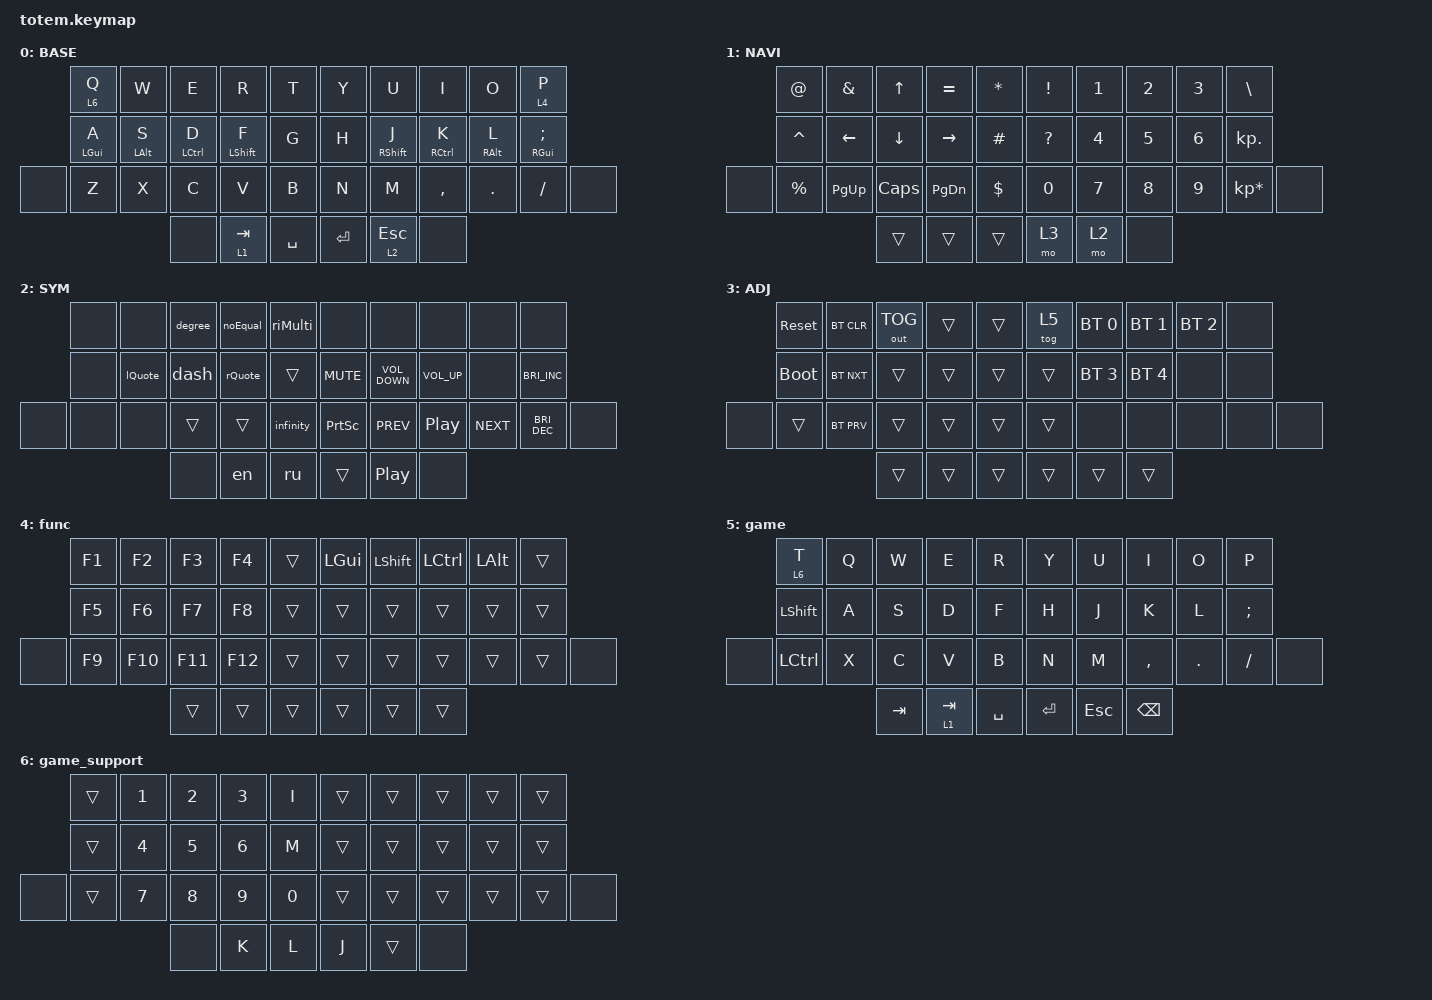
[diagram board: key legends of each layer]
//
//                                                        ▀▀▀▀▀     ▀▀▀▀▀          ▀▀█▀▀
//                                                        ▄▀▀▀▄  ▄  ▄▀▀▀▄  ▄  ▄▀▀▀▄  █  ▄▀▀▀▄
//                                                        █   █  █  █   █  █  █   █  █  █   █
//                                                         ▀▀▀   █   ▀▀▀   █   ▀▀▀   ▀   ▀▀▀
//                                                               █      ▄▄▄█▄▄▄    █   █  
//                                                               ▀      █  █  █     █▄█
//                                                             ▀▀▀▀▀    █  █  █      ▀
//                                                                      ▀  ▀  ▀
//
// ▄▄▄▄▄▄▄▄▄▄▄▄▄▄▄▄▄▄▄▄▄▄▄▄▄▄▄▄▄▄▄▄▄▄▄▄▄▄▄▄▄▄▄▄▄▄▄▄▄▄▄▄▄▄▄▄▄▄▄▄▄▄▄▄▄▄▄▄▄▄▄▄▄▄▄▄▄▄▄▄▄▄▄▄▄▄▄▄▄▄▄▄▄▄▄▄▄▄▄▄▄▄▄▄▄▄▄▄▄▄▄▄▄▄▄▄▄▄▄▄▄▄▄▄▄▄▄▄▄▄▄▄▄▄▄▄▄▄▄▄▄▄▄▄▄▄▄▄▄

#include <behaviors.dtsi>
#include <dt-bindings/zmk/bt.h>
#include <dt-bindings/zmk/keys.h>
#include <dt-bindings/zmk/outputs.h>

#define BASE 0
#define NAV  1
#define SYM  2
#define ADJ  3
#define TVP1 4
#define TVP2 5

&mt {
    quick-tap-ms = <100>;
    global-quick-tap;
    flavor = "tap-preferred";
    tapping-term-ms = <170>;
};

/ {
    combos {
        compatible = "zmk,combos";

        ParaLeft {
            bindings = <&kp LEFT_PARENTHESIS>;
            key-positions = <2 3>;
            timeout-ms = <20>;
        };

        ParaRight {
            bindings = <&kp RIGHT_PARENTHESIS>;
            key-positions = <6 7>;
            timeout-ms = <20>;
        };

        BrakLeft {
            bindings = <&kp LEFT_BRACKET>;
            key-positions = <13 12>;
            timeout-ms = <20>;
        };

        BrakRight {
            bindings = <&kp RIGHT_BRACKET>;
            key-positions = <16 17>;
            timeout-ms = <20>;
        };

        BraceLeft {
            bindings = <&kp LEFT_BRACE>;
            key-positions = <24 23>;
            timeout-ms = <20>;
        };

        BraceRight {
            bindings = <&kp RIGHT_BRACE>;
            key-positions = <27 28>;
            timeout-ms = <20>;
        };

        DoubleQuote {
            bindings = <&kp DOUBLE_QUOTES>;
            key-positions = <12 11>;
            timeout-ms = <20>;
        };

        SingleQuote {
            bindings = <&kp APOSTROPHE>;
            key-positions = <18 17>;
            timeout-ms = <20>;
        };

        TildaSign {
            bindings = <&kp TILDE>;
            key-positions = <18 19>;
            timeout-ms = <20>;
        };

        GraveSign {
            bindings = <&kp GRAVE>;
            key-positions = <10 11>;
            timeout-ms = <20>;
        };

        MinusSign {
            bindings = <&kp MINUS>;
            key-positions = <2 1>;
            timeout-ms = <20>;
        };

        PlusSign {
            bindings = <&kp PLUS>;
            key-positions = <1 0>;
            timeout-ms = <20>;
        };

        UnderscoreSign {
            bindings = <&kp UNDERSCORE>;
            key-positions = <8 7>;
            timeout-ms = <20>;
        };

        PipeSign {
            bindings = <&kp PIPE>;
            key-positions = <8 9>;
            timeout-ms = <20>;
        };

        LessThan {
            bindings = <&kp LESS_THAN>;
            key-positions = <22 23>;
        };

        GreatThan {
            bindings = <&kp GREATER_THAN>;
            key-positions = <28 29>;
        };

        delete_combo {
            bindings = <&kp DEL>;
            key-positions = <16 17 18>;
            layers = <2 6>;
        };

        enter_combo {
            bindings = <&kp ENTER>;
            key-positions = <11 12 13>;
            layers = <0 2 5 6>;
        };

        backspace_combo {
            bindings = <&kp BACKSPACE>;
            key-positions = <16 17 18>;
            layers = <0 5>;
        };
    };

    macros {
        dash: dash {
            compatible = "zmk,behavior-macro";
            #binding-cells = <0>;
            bindings =
                <&en>,
                <&macro_tap>,
                <&kp LC(LS(U)) &kp N2 &kp N0 &kp N1 &kp N4 &kp ENTER &ru>;

            label = "DASH";
        };

        ru: ru {
            compatible = "zmk,behavior-macro";
            #binding-cells = <0>;
            bindings = <&kp LG(LC(F6))>;
            label = "RU";
        };

        en: en {
            compatible = "zmk,behavior-macro";
            #binding-cells = <0>;
            bindings = <&kp LC(LG(F5))>;
            label = "EN";
        };

        rQuote: rQuote {
            compatible = "zmk,behavior-macro";
            #binding-cells = <0>;
            bindings =
                <&en>,
                <&macro_tap>,
                <&kp LC(LS(U)) &kp N0 &kp N0 &kp B &kp B &kp ENTER &ru>;

            label = "RQUOTE";
        };

        lQuote: lQuote {
            compatible = "zmk,behavior-macro";
            #binding-cells = <0>;
            bindings =
                <&en>,
                <&macro_tap>,
                <&kp LC(LS(U)) &kp N0 &kp N0 &kp A &kp B &kp ENTER &ru>;

            label = "LQUOTE";
        };

        riMulti: riMulti {
            compatible = "zmk,behavior-macro";
            #binding-cells = <0>;
            bindings =
                <&en>,
                <&macro_tap>,
                <&kp LC(LS(U)) &kp N0 &kp N0 &kp D &kp N7 &kp ENTER &ru>;

            label = "RIMULTI";
        };

        plus_minus: plus_minus {
            compatible = "zmk,behavior-macro";
            #binding-cells = <0>;
            bindings =
                <&en>,
                <&macro_tap>,
                <&kp LC(LS(U)) &kp N0 &kp N0 &kp B &kp N1 &kp RET &ru>;

            label = "PLUS_MINUS";
        };

        degree: degree {
            compatible = "zmk,behavior-macro";
            #binding-cells = <0>;
            bindings =
                <&en>,
                <&macro_tap>,
                <&kp LC(LS(U)) &kp N0 &kp N0 &kp B &kp N0 &kp RET &ru>;

            label = "DEGREE";
        };

        noEqual: noEqual {
            compatible = "zmk,behavior-macro";
            #binding-cells = <0>;
            bindings =
                <&en>,
                <&macro_tap>,
                <&kp LC(LS(U)) &kp N2 &kp N2 &kp N6 &kp N0 &kp RET &ru>;

            label = "NOEQUAL";
        };

        infinity: infinity {
            compatible = "zmk,behavior-macro";
            #binding-cells = <0>;
            bindings =
                <&en>,
                <&macro_tap>,
                <&kp LC(LS(U)) &kp N2 &kp N2 &kp N1 &kp E &kp RET &ru>;

            label = "INFINITY";
        };
    };

    keymap {
        compatible = "zmk,keymap";

        // ▄▄▄▄▄▄▄▄▄▄▄▄▄▄▄▄▄▄▄▄▄▄▄▄▄▄▄▄▄▄▄▄▄▄▄▄▄▄▄▄▄▄▄▄▄▄▄▄▄▄▄▄▄▄▄▄▄▄▄▄▄▄▄▄▄▄▄▄▄▄▄▄▄▄▄▄▄▄▄▄▄▄▄▄▄▄▄▄▄▄▄▄▄▄▄▄▄▄▄▄▄▄▄▄▄▄▄▄▄▄▄▄▄▄▄▄▄▄▄▄▄▄▄▄▄▄▄▄▄▄▄▄▄▄▄▄▄▄▄▄▄▄▄▄▄▄▄▄▄

        base_layer {
            // ┏━━━━━━━━━━━━━━━━━━━━━━━━━━━━━━━━━━━━━━━┓

            label = "BASE";

            // ┗━━━━━━━━━━━━━━━━━━━━━━━━━━━━━━━━━━━━━━━┛
            //             ┏━━━━━━━━━━━┳━━━━━━━━━━━┳━━━━━━━━━━━┳━━━━━━━━━━━┳━━━━━━━━━━━┓   ┏━━━━━━━━━━━┳━━━━━━━━━━━┳━━━━━━━━━━━┳━━━━━━━━━━━┳━━━━━━━━━━━┓
            //             ┃     Q     ┃     W     ┃     F     ┃     P     ┃     G     ┃   ┃     J     ┃     L     ┃     U     ┃     Y     ┃     ;     ┃
            //             ┣━━━━━━━━━━━╋━━━━━━━━━━━╋━━━━━━━━━━━╋━━━━━━━━━━━╋━━━━━━━━━━━┫   ┣━━━━━━━━━━━╋━━━━━━━━━━━╋━━━━━━━━━━━╋━━━━━━━━━━━╋━━━━━━━━━━━┫
            //             ┃     A     ┃     R     ┃     S     ┃     T     ┃     D     ┃   ┃     H     ┃     N     ┃     E     ┃     I     ┃     O     ┃
            // ┏━━━━━━━━━━━╋━━━━━━━━━━━╋━━━━━━━━━━━╋━━━━━━━━━━━╋━━━━━━━━━━━╋━━━━━━━━━━━┫   ┣━━━━━━━━━━━╋━━━━━━━━━━━╋━━━━━━━━━━━╋━━━━━━━━━━━╋━━━━━━━━━━━╋━━━━━━━━━━━┓
            // ┃     Q     ┃     Z     ┃     X     ┃     C     ┃     V     ┃     B     ┃   ┃     K     ┃     M     ┃     ,     ┃     .     ┃     /     ┃     \     ┃
            // ┗━━━━━━━━━━━┻━━━━━━━━━━━┻━━━━━━━━━━━╋━━━━━━━━━━━╋━━━━━━━━━━━╋━━━━━━━━━━━┫   ┣━━━━━━━━━━━╋━━━━━━━━━━━╋━━━━━━━━━━━╋━━━━━━━━━━━┻━━━━━━━━━━━┻━━━━━━━━━━━┛
            //                                     ┃    DEL    ┃    TAB    ┃    SPC    ┃   ┃   ENTER   ┃    ESC    ┃   BSPC    ┃
            //                                     ┗━━━━━━━━━━━┻━━━━━━━━━━━┻━━━━━━━━━━━┛   ┗━━━━━━━━━━━┻━━━━━━━━━━━┻━━━━━━━━━━━┛

            bindings = <
       &lt 6 Q     &kp W       &kp E        &kp R        &kp T        &kp Y    &kp U        &kp I        &kp O       &lt 4 P
       &mt LGUI A  &mt LALT S  &mt LCTRL D  &mt LSHFT F  &kp G        &kp H    &mt RSHFT J  &mt RCTRL K  &mt RALT L  &mt RGUI SEMI
&none  &kp Z       &kp X       &kp C        &kp V        &kp B        &kp N    &kp M        &kp COMMA    &kp DOT     &kp FSLH       &none
                               &none        &lt 1 TAB    &kp SPACE    &kp RET  &lt 2 ESC    &none
            >;
        };

        // ▄▄▄▄▄▄▄▄▄▄▄▄▄▄▄▄▄▄▄▄▄▄▄▄▄▄▄▄▄▄▄▄▄▄▄▄▄▄▄▄▄▄▄▄▄▄▄▄▄▄▄▄▄▄▄▄▄▄▄▄▄▄▄▄▄▄▄▄▄▄▄▄▄▄▄▄▄▄▄▄▄▄▄▄▄▄▄▄▄▄▄▄▄▄▄▄▄▄▄▄▄▄▄▄▄▄▄▄▄▄▄▄▄▄▄▄▄▄▄▄▄▄▄▄▄▄▄▄▄▄▄▄▄▄▄▄▄▄▄▄▄▄▄▄▄▄▄▄▄

        nav_layer {
            // ┏━━━━━━━━━━━━━━━━━━━━━━━━━━━━━━━━━━━━━━━┓

            label = "NAVI";

            // ┗━━━━━━━━━━━━━━━━━━━━━━━━━━━━━━━━━━━━━━━┛
            //             ┏━━━━━━━━━━━┳━━━━━━━━━━━┳━━━━━━━━━━━┳━━━━━━━━━━━┳━━━━━━━━━━━┓   ┏━━━━━━━━━━━┳━━━━━━━━━━━┳━━━━━━━━━━━┳━━━━━━━━━━━┳━━━━━━━━━━━┓
            //             ┃           ┃           ┃     UP    ┃           ┃     {     ┃   ┃     }     ┃     7     ┃     8     ┃     9     ┃     +     ┃
            //             ┣━━━━━━━━━━━╋━━━━━━━━━━━╋━━━━━━━━━━━╋━━━━━━━━━━━╋━━━━━━━━━━━┫   ┣━━━━━━━━━━━╋━━━━━━━━━━━╋━━━━━━━━━━━╋━━━━━━━━━━━╋━━━━━━━━━━━┫
            //             ┃   SHIFT   ┃   LEFT    ┃    DOWN   ┃   RIGHT   ┃     [     ┃   ┃     ]     ┃     4     ┃     5     ┃     6     ┃     -     ┃
            // ┏━━━━━━━━━━━╋━━━━━━━━━━━╋━━━━━━━━━━━╋━━━━━━━━━━━╋━━━━━━━━━━━╋━━━━━━━━━━━┫   ┣━━━━━━━━━━━╋━━━━━━━━━━━╋━━━━━━━━━━━╋━━━━━━━━━━━╋━━━━━━━━━━━╋━━━━━━━━━━━┓
            // ┃           ┃           ┃   P UP    ┃  C LOCK   ┃  P DOWN   ┃     (     ┃   ┃     )     ┃     1     ┃     2     ┃     3     ┃     *     ┃           ┃
            // ┗━━━━━━━━━━━┻━━━━━━━━━━━┻━━━━━━━━━━━╋━━━━━━━━━━━╋━━━━━━━━━━━╋━━━━━━━━━━━┫   ┣━━━━━━━━━━━╋━━━━━━━━━━━╋━━━━━━━━━━━╋━━━━━━━━━━━┻━━━━━━━━━━━┻━━━━━━━━━━━┛
            //                                     ┃           ┃    TAB    ┃    SPC    ┃   ┃    DEL    ┃     0     ┃           ┃
            //                                     ┗━━━━━━━━━━━┻━━━━━━━━━━━┻━━━━━━━━━━━┛   ┗━━━━━━━━━━━┻━━━━━━━━━━━┻━━━━━━━━━━━┛

            bindings = <
       &kp AT       &kp AMPERSAND  &kp UP    &kp EQUAL  &kp ASTRK     &kp EXCL   &kp N1  &kp N2  &kp N3  &kp BACKSLASH
       &kp CARET    &kp LEFT       &kp DOWN  &kp RIGHT  &kp HASH      &kp QMARK  &kp N4  &kp N5  &kp N6  &kp KP_DOT
&none  &kp PERCENT  &kp PG_UP      &kp CAPS  &kp PG_DN  &kp DOLLAR    &kp N0     &kp N7  &kp N8  &kp N9  &kp KP_MULTIPLY  &none
                                   &trans    &trans     &trans        &mo 3      &mo 2   &none
            >;
        };

        // ▄▄▄▄▄▄▄▄▄▄▄▄▄▄▄▄▄▄▄▄▄▄▄▄▄▄▄▄▄▄▄▄▄▄▄▄▄▄▄▄▄▄▄▄▄▄▄▄▄▄▄▄▄▄▄▄▄▄▄▄▄▄▄▄▄▄▄▄▄▄▄▄▄▄▄▄▄▄▄▄▄▄▄▄▄▄▄▄▄▄▄▄▄▄▄▄▄▄▄▄▄▄▄▄▄▄▄▄▄▄▄▄▄▄▄▄▄▄▄▄▄▄▄▄▄▄▄▄▄▄▄▄▄▄▄▄▄▄▄▄▄▄▄▄▄▄▄▄▄

        sym_layer {
            // ┏━━━━━━━━━━━━━━━━━━━━━━━━━━━━━━━━━━━━━━━┓

            label = "SYM";

            // ┗━━━━━━━━━━━━━━━━━━━━━━━━━━━━━━━━━━━━━━━┛
            //             ┏━━━━━━━━━━━┳━━━━━━━━━━━┳━━━━━━━━━━━┳━━━━━━━━━━━┳━━━━━━━━━━━┓   ┏━━━━━━━━━━━┳━━━━━━━━━━━┳━━━━━━━━━━━┳━━━━━━━━━━━┳━━━━━━━━━━━┓
            //             ┃     !     ┃     @     ┃     #     ┃     $     ┃     %     ┃   ┃     ˆ     ┃     &     ┃     Ü     ┃     '     ┃     "     ┃
            //             ┣━━━━━━━━━━━╋━━━━━━━━━━━╋━━━━━━━━━━━╋━━━━━━━━━━━╋━━━━━━━━━━━┫   ┣━━━━━━━━━━━╋━━━━━━━━━━━╋━━━━━━━━━━━╋━━━━━━━━━━━╋━━━━━━━━━━━┫
            //             ┃     Ä     ┃           ┃    SZ     ┃           ┃           ┃   ┃   MUTE    ┃   YEN     ┃   EURO    ┃  POUND    ┃     Ö     ┃
            // ┏━━━━━━━━━━━╋━━━━━━━━━━━╋━━━━━━━━━━━╋━━━━━━━━━━━╋━━━━━━━━━━━╋━━━━━━━━━━━┫   ┣━━━━━━━━━━━╋━━━━━━━━━━━╋━━━━━━━━━━━╋━━━━━━━━━━━╋━━━━━━━━━━━╋━━━━━━━━━━━┓
            // ┃           ┃  EMAIL1   ┃  EMAIL2   ┃           ┃           ┃           ┃   ┃   VOL-    ┃   VOL+    ┃   LAST    ┃   NEXT    ┃     \     ┃           ┃
            // ┗━━━━━━━━━━━┻━━━━━━━━━━━┻━━━━━━━━━━━╋━━━━━━━━━━━╋━━━━━━━━━━━╋━━━━━━━━━━━┫   ┣━━━━━━━━━━━╋━━━━━━━━━━━╋━━━━━━━━━━━╋━━━━━━━━━━━┻━━━━━━━━━━━┻━━━━━━━━━━━┛
            //                                     ┃           ┃    GIF    ┃    ADJ    ┃   ┃           ┃           ┃           ┃
            //                                     ┗━━━━━━━━━━━┻━━━━━━━━━━━┻━━━━━━━━━━━┛   ┗━━━━━━━━━━━┻━━━━━━━━━━━┻━━━━━━━━━━━┛
            //           ---------------------------------------------.       .--------------------------------------------
            //           |    *   |    1   |    2   |    3   |    *   |       |    ?   |   @    |   ^    |   :    |       |
            //           +--------+--------+--------+--------+--------|       |--------+--------+--------+--------+--------
            //           |    /   |    4   |    5   |    6   |    =   |       |    !   |   %    |   &    |   ;    |        |
            // |---------+--------+--------+--------+--------+--------|       |--------+--------+--------+--------+--------+--------|
            // |   /     |    =   |    7   |    8   |    9   |    0   |       |    $   |   #    |   _    |   <    |    >   |    \   |
            // '---------------------------+--------+--------+--------+       |-------+---------+--------+--------------------------'
            //                             |        |   ADJ  |  **    |       |        |        |   DEL  |
            //                             '--------+--------+--------'       '--------+--------+--------'

            bindings = <
       &none  &none    &degree  &noEqual  &riMulti     &none            &none              &none             &none       &none
       &none  &lQuote  &dash    &rQuote   &trans       &kp C_MUTE       &kp C_VOLUME_DOWN  &kp C_VOLUME_UP   &none       &kp C_BRIGHTNESS_INC
&none  &none  &none    &trans   &trans    &infinity    &kp PRINTSCREEN  &kp C_PREV         &kp C_PLAY_PAUSE  &kp C_NEXT  &kp C_BRIGHTNESS_DEC  &none
                       &none    &en       &ru          &trans           &kp C_PP           &none
            >;
        };

        // ▄▄▄▄▄▄▄▄▄▄▄▄▄▄▄▄▄▄▄▄▄▄▄▄▄▄▄▄▄▄▄▄▄▄▄▄▄▄▄▄▄▄▄▄▄▄▄▄▄▄▄▄▄▄▄▄▄▄▄▄▄▄▄▄▄▄▄▄▄▄▄▄▄▄▄▄▄▄▄▄▄▄▄▄▄▄▄▄▄▄▄▄▄▄▄▄▄▄▄▄▄▄▄▄▄▄▄▄▄▄▄▄▄▄▄▄▄▄▄▄▄▄▄▄▄▄▄▄▄▄▄▄▄▄▄▄▄▄▄▄▄▄▄▄▄▄▄▄▄

        adjust_layer {
            // ┏━━━━━━━━━━━━━━━━━━━━━━━━━━━━━━━━━━━━━━━┓

            label = "ADJ";

            // ┗━━━━━━━━━━━━━━━━━━━━━━━━━━━━━━━━━━━━━━━┛
            //             ┏━━━━━━━━━━━┳━━━━━━━━━━━┳━━━━━━━━━━━┳━━━━━━━━━━━┳━━━━━━━━━━━┓   ┏━━━━━━━━━━━┳━━━━━━━━━━━┳━━━━━━━━━━━┳━━━━━━━━━━━┳━━━━━━━━━━━┓
            //             ┃   RESET   ┃ BT CLEAR  ┃  OUT TOG  ┃           ┃           ┃   ┃           ┃    F7     ┃    F8     ┃    F9     ┃    F12    ┃
            //             ┣━━━━━━━━━━━╋━━━━━━━━━━━╋━━━━━━━━━━━╋━━━━━━━━━━━╋━━━━━━━━━━━┫   ┣━━━━━━━━━━━╋━━━━━━━━━━━╋━━━━━━━━━━━╋━━━━━━━━━━━╋━━━━━━━━━━━┫
            //             ┃ BOOTLOAD  ┃ BT NEXT   ┃           ┃           ┃           ┃   ┃           ┃    F4     ┃    F5     ┃    F6     ┃    F11    ┃
            // ┏━━━━━━━━━━━╋━━━━━━━━━━━╋━━━━━━━━━━━╋━━━━━━━━━━━╋━━━━━━━━━━━╋━━━━━━━━━━━┫   ┣━━━━━━━━━━━╋━━━━━━━━━━━╋━━━━━━━━━━━╋━━━━━━━━━━━╋━━━━━━━━━━━╋━━━━━━━━━━━┓
            // ┃           ┃           ┃ BT PREV   ┃           ┃           ┃           ┃   ┃           ┃    F1     ┃    F2     ┃    F3     ┃    F10    ┃           ┃
            // ┗━━━━━━━━━━━┻━━━━━━━━━━━┻━━━━━━━━━━━╋━━━━━━━━━━━╋━━━━━━━━━━━╋━━━━━━━━━━━┫   ┣━━━━━━━━━━━╋━━━━━━━━━━━╋━━━━━━━━━━━╋━━━━━━━━━━━┻━━━━━━━━━━━┻━━━━━━━━━━━┛
            //                                     ┃           ┃           ┃           ┃   ┃           ┃           ┃           ┃
            //                                     ┗━━━━━━━━━━━┻━━━━━━━━━━━┻━━━━━━━━━━━┛   ┗━━━━━━━━━━━┻━━━━━━━━━━━┻━━━━━━━━━━━┛

            bindings = <
       &sys_reset   &bt BT_CLR  &out OUT_TOG  &trans  &trans    &tog 5  &bt BT_SEL 0  &bt BT_SEL 1  &bt BT_SEL 2  &none
       &bootloader  &bt BT_NXT  &trans        &trans  &trans    &trans  &bt BT_SEL 3  &bt BT_SEL 4  &none         &none
&none  &trans       &bt BT_PRV  &trans        &trans  &trans    &trans  &none         &none         &none         &none  &none
                                &trans        &trans  &trans    &trans  &trans        &trans
            >;
        };

        // ▄▄▄▄▄▄▄▄▄▄▄▄▄▄▄▄▄▄▄▄▄▄▄▄▄▄▄▄▄▄▄▄▄▄▄▄▄▄▄▄▄▄▄▄▄▄▄▄▄▄▄▄▄▄▄▄▄▄▄▄▄▄▄▄▄▄▄▄▄▄▄▄▄▄▄▄▄▄▄▄▄▄▄▄▄▄▄▄▄▄▄▄▄▄▄▄▄▄▄▄▄▄▄▄▄▄▄▄▄▄▄▄▄▄▄▄▄▄▄▄▄▄▄▄▄▄▄▄▄▄▄▄▄▄▄▄▄▄▄▄▄▄▄▄▄▄▄▄▄
        // ▄▄▄▄▄▄▄▄▄▄▄▄▄▄▄▄▄▄▄▄▄▄▄▄▄▄▄▄▄▄▄▄▄▄▄▄▄▄▄▄▄▄▄▄▄▄▄▄▄▄▄▄▄▄▄▄▄▄▄▄▄▄▄▄▄▄▄▄▄▄▄▄▄▄▄▄▄▄▄▄▄▄▄▄▄▄▄▄▄▄▄▄▄▄▄▄▄▄▄▄▄▄▄▄▄▄▄▄▄▄▄▄▄▄▄▄▄▄▄▄▄▄▄▄▄▄▄▄▄▄▄▄▄▄▄▄▄▄▄▄▄▄▄▄▄▄▄▄▄

        func {
            bindings = <
       &kp F1  &kp F2   &kp F3   &kp F4   &trans    &kp LGUI  &kp LEFT_SHIFT  &kp LCTRL  &kp LALT  &trans
       &kp F5  &kp F6   &kp F7   &kp F8   &trans    &trans    &trans          &trans     &trans    &trans
&none  &kp F9  &kp F10  &kp F11  &kp F12  &trans    &trans    &trans          &trans     &trans    &trans  &none
                        &trans   &trans   &trans    &trans    &trans          &trans
            >;
        };

        game {
            bindings = <
       &lt 6 T    &kp Q  &kp W    &kp E      &kp R        &kp Y    &kp U    &kp I      &kp O    &kp P
       &kp LSHFT  &kp A  &kp S    &kp D      &kp F        &kp H    &kp J    &kp K      &kp L    &kp SEMI
&none  &kp LCTRL  &kp X  &kp C    &kp V      &kp B        &kp N    &kp M    &kp COMMA  &kp DOT  &kp FSLH  &none
                         &kp TAB  &lt 1 TAB  &kp SPACE    &kp RET  &kp ESC  &kp BSPC
            >;
        };

        game_support {
            bindings = <
       &trans  &kp N1  &kp N2  &kp N3  &kp I     &trans  &trans  &trans  &trans  &trans
       &trans  &kp N4  &kp N5  &kp N6  &kp M     &trans  &trans  &trans  &trans  &trans
&none  &trans  &kp N7  &kp N8  &kp N9  &kp N0    &trans  &trans  &trans  &trans  &trans  &none
                       &none   &kp K   &kp L     &kp J   &trans  &none
            >;
        };
    };
};
